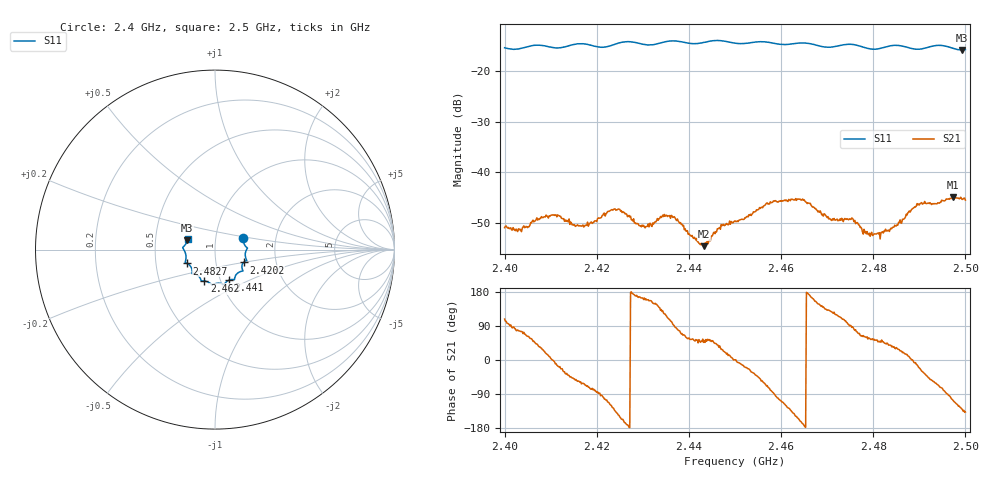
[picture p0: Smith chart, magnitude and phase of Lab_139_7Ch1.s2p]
# Hz S RI R 50
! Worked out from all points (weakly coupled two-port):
!   601 points, 2.4 GHz to 2.5 GHz, reference 50 ohm
!   highest |S21| = -44.87 dB at 2.4973 GHz (marker M1); lowest = -54.6 dB at 2.4433 GHz (marker M2)
!   lowest |S11| = -15.8 dB at 2.4993 GHz (marker M3), VSWR 1.39, Z = 36.5 + j3.81 ohm
!   |S11| at or under -10 dB: start of sweep to end of sweep
!   S12 and S22 are empty: the file has one direction only
!   S11 on the Smith chart (normalised r, x): 2.4 GHz: 1.36, +0.18; 2.4202 GHz: 1.36, -0.20; 2.441 GHz: 1.10, -0.39; 2.462 GHz: 0.84, -0.30; 2.4827 GHz: 0.72, -0.11; 2.5 GHz: 0.73, +0.09
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2.4e9  0.1587 0.063  -0.000877 0.00269  0 0  0 0
2.403167e9  0.1645 0.027  0.000615 0.00263  0 0  0 0
2.410667e9  0.1704 -0.0131  0.00379 -0.000161  0 0  0 0
2.416667e9  0.1772 -0.0607  0.00133 -0.00261  0 0  0 0
2.420167e9  0.159 -0.0715  0.000368 -0.00345  0 0  0 0
2.424333e9  0.1522 -0.1093  -0.00324 -0.00276  0 0  0 0
2.43e9  0.1365 -0.1247  -0.0028 0.000823  0 0  0 0
2.433333e9  0.1115 -0.1508  -0.00264 0.00206  0 0  0 0
2.436667e9  0.1083 -0.1678  -0.00015 0.00359  0 0  0 0
2.441e9  0.0789 -0.1698  0.00133 0.00177  0 0  0 0
2.443333e9  0.0589 -0.1838  0.00116 0.00145  0 0  0 0
2.45e9  0.0287 -0.1875  0.0033 2.49e-05  0 0  0 0
2.462e9  -0.0601 -0.1753  -0.00346 -0.00392  0 0  0 0
2.466667e9  -0.0789 -0.1684  -0.00445 0.0012  0 0  0 0
2.4755e9  -0.1278 -0.1325  0.000154 0.00349  0 0  0 0
2.479e9  -0.1298 -0.1055  0.00127 0.00205  0 0  0 0
2.482667e9  -0.1558 -0.0771  0.00198 0.00188  0 0  0 0
2.483333e9  -0.1602 -0.0751  0.00207 0.00169  0 0  0 0
2.49e9  -0.1634 -0.0243  0.00443 -0.00168  0 0  0 0
2.497333e9  -0.1663 0.0265  -0.00165 -0.00546  0 0  0 0
2.499333e9  -0.1541 0.0509  -0.00347 -0.00411  0 0  0 0
2.5e9  -0.1523 0.0605  -0.00388 -0.00361  0 0  0 0
